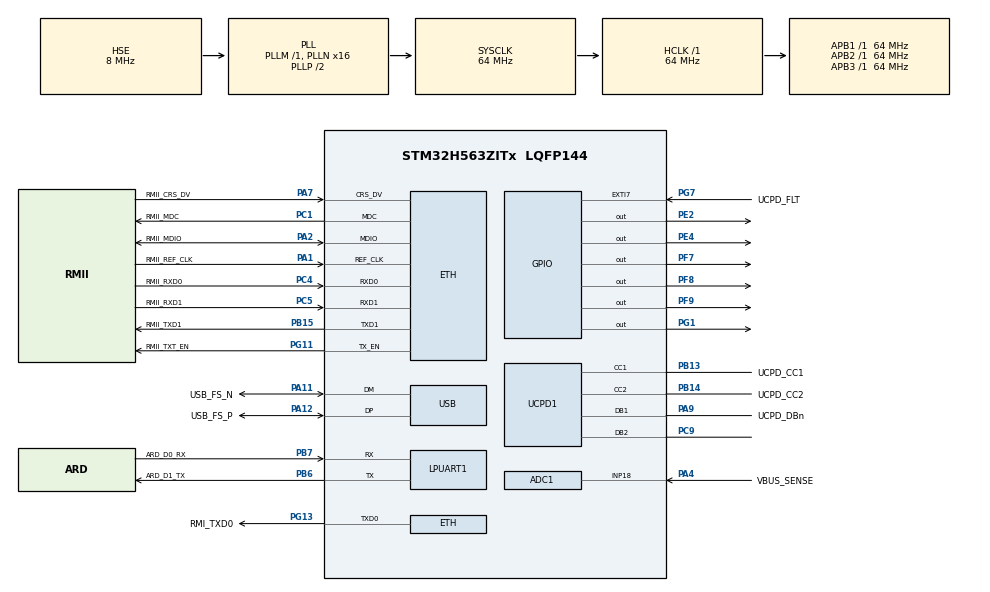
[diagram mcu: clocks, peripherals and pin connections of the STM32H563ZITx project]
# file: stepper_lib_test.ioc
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ADC1.Channel-0\#ChannelRegularConversion=ADC_CHANNEL_18
ADC1.MonitoredBy-0\#ChannelRegularConversion=__NULL
ADC1.NbrOfConversionFlag=1
ADC1.OffsetNumber-0\#ChannelRegularConversion=ADC_OFFSET_NONE
ADC1.Rank-0\#ChannelRegularConversion=1
ADC1.SamplingTime-0\#ChannelRegularConversion=ADC_SAMPLETIME_2CYCLES_5
ADC1.master=1
CORTEX_M33_NS.userName=CORTEX_M33
ETH.MediaInterface=HAL_ETH_RMII_MODE
Mcu.Family=STM32H5
Mcu.Name=STM32H563ZITx
Mcu.Package=LQFP144
NVIC.PriorityGroup=NVIC_PRIORITYGROUP_4
NVIC.TIM14_IRQn=true\:0\:0\:false\:false\:true\:true\:true\:true
PA1.GPIO_Label=RMII_REF_CLK
PA1.GPIO_Mode=GPIO_MODE_AF_PP
PA1.GPIO_PuPd=GPIO_NOPULL
PA1.GPIO_Speed=GPIO_SPEED_FREQ_LOW
PA1.Mode=RMII
PA1.Signal=ETH_REF_CLK
PA11.GPIO_Label=USB_FS_N
PA11.Mode=Device
PA11.Signal=USB_DM
PA12.GPIO_Label=USB_FS_P
PA12.Mode=Device
PA12.Signal=USB_DP
PA13(JTMS/SWDIO).GPIO_Label=SWDIO
PA13(JTMS/SWDIO).Signal=DEBUG_JTMS-SWDIO
PA14(JTCK/SWCLK).GPIO_Label=SWCLK
PA14(JTCK/SWCLK).Signal=DEBUG_JTCK-SWCLK
PA15(JTDI).GPIO_Label=T_JTDI
PA15(JTDI).Signal=DEBUG_JTDI
PA2.GPIO_Label=RMII_MDIO
PA2.GPIO_Mode=GPIO_MODE_AF_PP
PA2.GPIO_PuPd=GPIO_NOPULL
PA2.GPIO_Speed=GPIO_SPEED_FREQ_LOW
PA2.Mode=RMII
PA2.Signal=ETH_MDIO
PA4.GPIO_Label=VBUS_SENSE
PA4.Signal=ADCx_INP18
PA7.GPIO_Label=RMII_CRS_DV
PA7.GPIO_Mode=GPIO_MODE_AF_PP
PA7.GPIO_PuPd=GPIO_NOPULL
PA7.GPIO_Speed=GPIO_SPEED_FREQ_LOW
PA7.Mode=RMII
PA7.Signal=ETH_CRS_DV
PA9.GPIO_Label=UCPD_DBn
PA9.Mode=EnableDeadBattery
PA9.Signal=UCPD1_DB1
PB13.GPIO_Label=UCPD_CC1
PB13.Mode=Source_AllSignals
PB13.Signal=UCPD1_CC1
PB14.GPIO_Label=UCPD_CC2
PB14.Mode=Source_AllSignals
PB14.Signal=UCPD1_CC2
PB15.GPIO_Label=RMII_TXD1
PB15.GPIO_Mode=GPIO_MODE_AF_PP
PB15.GPIO_PuPd=GPIO_NOPULL
PB15.GPIO_Speed=GPIO_SPEED_FREQ_LOW
PB15.Mode=RMII
PB15.Signal=ETH_TXD1
PB3(JTDO/TRACESWO).GPIO_Label=SWO
PB3(JTDO/TRACESWO).Signal=DEBUG_JTDO-SWO
PB6.GPIO_Label=ARD_D1_TX
PB6.Mode=Asynchronous
PB6.Signal=LPUART1_TX
PB7.GPIO_Label=ARD_D0_RX
PB7.Mode=Asynchronous
PB7.Signal=LPUART1_RX
PC1.GPIO_Label=RMII_MDC
PC1.GPIO_Mode=GPIO_MODE_AF_PP
PC1.GPIO_PuPd=GPIO_NOPULL
PC1.GPIO_Speed=GPIO_SPEED_FREQ_LOW
PC1.Mode=RMII
PC1.Signal=ETH_MDC
PC14-OSC32_IN(OSC32_IN).Mode=LSE-External-Oscillator
PC14-OSC32_IN(OSC32_IN).Signal=RCC_OSC32_IN
PC15-OSC32_OUT(OSC32_OUT).Mode=LSE-External-Oscillator
PC15-OSC32_OUT(OSC32_OUT).Signal=RCC_OSC32_OUT
PC4.GPIO_Label=RMII_RXD0
PC4.GPIO_Mode=GPIO_MODE_AF_PP
PC4.GPIO_PuPd=GPIO_NOPULL
PC4.GPIO_Speed=GPIO_SPEED_FREQ_LOW
PC4.Mode=RMII
PC4.Signal=ETH_RXD0
PC5.GPIO_Label=RMII_RXD1
PC5.GPIO_Mode=GPIO_MODE_AF_PP
PC5.GPIO_PuPd=GPIO_NOPULL
PC5.GPIO_Speed=GPIO_SPEED_FREQ_LOW
PC5.Mode=RMII
PC5.Signal=ETH_RXD1
PC9.Mode=EnableDeadBattery
PC9.Signal=UCPD1_DB2
PE2.Signal=GPIO_Output
PE3.GPIO_Label=TRACE_D0
PE3.Signal=DEBUG_TRACED0
PE4.Signal=GPIO_Output
PE5.GPIO_Label=TRACE_D2
PE5.Signal=DEBUG_TRACED2
PE6.GPIO_Label=TRACE_D3
PE6.Signal=DEBUG_TRACED3
PF7.Signal=GPIO_Output
PF8.Signal=GPIO_Output
PF9.Signal=GPIO_Output
PG1.Signal=GPIO_Output
PG11.GPIO_Label=RMII_TXT_EN
PG11.GPIO_Mode=GPIO_MODE_AF_PP
PG11.GPIO_PuPd=GPIO_NOPULL
PG11.GPIO_Speed=GPIO_SPEED_FREQ_LOW
PG11.Mode=RMII
PG11.Signal=ETH_TX_EN
PG13.GPIO_Label=RMI_TXD0
PG13.GPIO_Mode=GPIO_MODE_AF_PP
PG13.GPIO_PuPd=GPIO_NOPULL
PG13.GPIO_Speed=GPIO_SPEED_FREQ_LOW
PG13.Mode=RMII
PG13.Signal=ETH_TXD0
PG7.GPIO_Label=UCPD_FLT
PG7.Signal=GPXTI7
PH0-OSC_IN(PH0).Mode=HSE-DIG-External-Clock-Source
PH0-OSC_IN(PH0).Signal=RCC_OSC_IN
ProjectManager.HeapSize=0x200
ProjectManager.StackSize=0x400
ProjectManager.TargetToolchain=STM32CubeIDE
RCC.ADCFreq_Value=64000000
RCC.AHBFreq_Value=64000000
RCC.APB1Freq_Value=64000000
RCC.APB1TimFreq_Value=64000000
RCC.APB2Freq_Value=64000000
RCC.APB2TimFreq_Value=64000000
RCC.APB3Freq_Value=64000000
RCC.CSI_VALUE=4000000
RCC.CortexFreq_Value=64000000
RCC.EPOD_VALUE=8000000
RCC.HCLKFreq_Value=64000000
RCC.HSE_VALUE=8000000
RCC.HSI48_VALUE=48000000
RCC.HSIDiv=RCC_HSI_DIV1
RCC.HSI_VALUE=64000000
RCC.LSIRC_VALUE=32000
RCC.PLLFRACN=0
RCC.PLLN=16
RCC.PLLSourceVirtual=RCC_PLL1_SOURCE_HSE
RCC.SYSCLKFreq_VALUE=64000000
RCC.SYSCLKSource=RCC_SYSCLKSOURCE_PLLCLK
RCC.USBFreq_Value=48000000
RCC.VCOOutputFreq_Value=128000000
SH.ADCx_INP18.0=ADC1_INP18,IN18-Single-Ended
TIM14.PeriodNoDither=100
TIM14.Prescaler=63
USB.VirtualMode=Device_Only
VP_BOOTPATH_VS_BOOTPATH.Mode=BP_Activate
VP_ICACHE_VS_ICACHE.Mode=DefaultMode
VP_MEMORYMAP_VS_MEMORYMAP.Mode=CurAppReg
VP_PWR_VS_DBSignals.Mode=DisableDeadBatterySignals
VP_PWR_VS_LPOM.Mode=PowerOptimisation
VP_PWR_VS_SECSignals.Mode=Security/Privilege
VP_TIM14_VS_ClockSourceINT.Mode=Enable_Timer
board=NUCLEO-H563ZI

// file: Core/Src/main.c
/* USER CODE BEGIN Header */
/**
  ******************************************************************************
  * @file           : main.c
  * @brief          : Main program body
  ******************************************************************************
  * @attention
  *
  * Copyright (c) 2024 STMicroelectronics.
  * All rights reserved.
  *
  * This software is licensed under terms that can be found in the LICENSE file
  * in the root directory of this software component.
  * If no LICENSE file comes with this software, it is provided AS-IS.
  *
  ******************************************************************************
  */
/* USER CODE END Header */
#include "main.h"
#include "string.h"

/* USER CODE BEGIN Includes */
#include "stepper_motor.h"
/* USER CODE END Includes */

/* USER CODE BEGIN PD */

#define STEP_PORT GPIOE//D56
#define STEP_PIN GPIO_PIN_2
#define DIR_PORT GPIOE//D57
#define DIR_PIN GPIO_PIN_4
#define MS1_PORT GPIOF
#define MS2_PORT GPIOF
#define MS3_PORT GPIOF
#define MS1_PIN GPIO_PIN_8
#define MS2_PIN GPIO_PIN_7
#define MS3_PIN GPIO_PIN_9
/* USER CODE END PD */

ETH_TxPacketConfig TxConfig;
ETH_DMADescTypeDef  DMARxDscrTab[ETH_RX_DESC_CNT]; /* Ethernet Rx DMA Descriptors */
ETH_DMADescTypeDef  DMATxDscrTab[ETH_TX_DESC_CNT]; /* Ethernet Tx DMA Descriptors */

ADC_HandleTypeDef hadc1;

ETH_HandleTypeDef heth;

UART_HandleTypeDef hlpuart1;

TIM_HandleTypeDef htim14;

PCD_HandleTypeDef hpcd_USB_DRD_FS;

void SystemClock_Config(void);
static void MX_GPIO_Init(void);
static void MX_ADC1_Init(void);
static void MX_ETH_Init(void);
static void MX_ICACHE_Init(void);
static void MX_LPUART1_UART_Init(void);
static void MX_UCPD1_Init(void);
static void MX_USB_PCD_Init(void);
static void MX_TIM14_Init(void);

/* USER CODE BEGIN 0 */
int checkpoint, cnt14, x;
Stepper_Motor Stepper1;
GPIO_TypeDef *Step_Port = STEP_PORT, *Dir_Port = DIR_PORT;
GPIO_TypeDef *MS_Ports[3] = {MS1_PORT, MS2_PORT, MS3_PORT};
uint16_t Step_Pin = STEP_PIN, Dir_Pin = DIR_PIN, MS_Pins[3] = {MS1_PIN, MS2_PIN, MS3_PIN};
/* USER CODE END 0 */

int main(void)
{

  /* MCU Configuration--------------------------------------------------------*/

  /* Reset of all peripherals, Initializes the Flash interface and the Systick. */
  HAL_Init();

  /* Configure the system clock */
  SystemClock_Config();

  /* Initialize all configured peripherals */
  MX_GPIO_Init();
  MX_ADC1_Init();
  MX_ETH_Init();
  MX_ICACHE_Init();
  MX_LPUART1_UART_Init();
  MX_UCPD1_Init();
  MX_USB_PCD_Init();
  MX_TIM14_Init();
  /* USER CODE BEGIN 2 */
  HAL_TIM_Base_Start_IT(&htim14);
	Stepper_Init(&Stepper1, Step_Port, Step_Pin, Dir_Port, Dir_Pin, MS_Ports, MS_Pins, FULL);
  /* USER CODE END 2 */

  /* Infinite loop */
  /* USER CODE BEGIN WHILE */
  while (1)
  {
	  if(Stepper_Empty(&Stepper1))
	  {
		  x = 10;
		  HAL_Delay(1000);
		  Stepper_Add_Steps(&Stepper1, 200);
	  }
	  x = 9;
    /* USER CODE END WHILE */

  }
}

void SystemClock_Config(void)
{
  RCC_OscInitTypeDef RCC_OscInitStruct = {0};
  RCC_ClkInitTypeDef RCC_ClkInitStruct = {0};

  /** Configure the main internal regulator output voltage
  */
  __HAL_PWR_VOLTAGESCALING_CONFIG(PWR_REGULATOR_VOLTAGE_SCALE3);

  while(!__HAL_PWR_GET_FLAG(PWR_FLAG_VOSRDY)) {}

  /** Initializes the RCC Oscillators according to the specified parameters
  * in the RCC_OscInitTypeDef structure.
  */
  RCC_OscInitStruct.OscillatorType = RCC_OSCILLATORTYPE_HSI48|RCC_OSCILLATORTYPE_HSI
                              |RCC_OSCILLATORTYPE_HSE;
  RCC_OscInitStruct.HSEState = RCC_HSE_BYPASS_DIGITAL;
  RCC_OscInitStruct.HSIState = RCC_HSI_ON;
  RCC_OscInitStruct.HSIDiv = RCC_HSI_DIV1;
  RCC_OscInitStruct.HSICalibrationValue = RCC_HSICALIBRATION_DEFAULT;
  RCC_OscInitStruct.HSI48State = RCC_HSI48_ON;
  RCC_OscInitStruct.PLL.PLLState = RCC_PLL_ON;
  RCC_OscInitStruct.PLL.PLLSource = RCC_PLL1_SOURCE_HSE;
  RCC_OscInitStruct.PLL.PLLM = 1;
  RCC_OscInitStruct.PLL.PLLN = 16;
  RCC_OscInitStruct.PLL.PLLP = 2;
  RCC_OscInitStruct.PLL.PLLQ = 2;
  RCC_OscInitStruct.PLL.PLLR = 2;
  RCC_OscInitStruct.PLL.PLLRGE = RCC_PLL1_VCIRANGE_3;
  RCC_OscInitStruct.PLL.PLLVCOSEL = RCC_PLL1_VCORANGE_WIDE;
  RCC_OscInitStruct.PLL.PLLFRACN = 0;
  if (HAL_RCC_OscConfig(&RCC_OscInitStruct) != HAL_OK)
  {
    Error_Handler();
  }

  /** Initializes the CPU, AHB and APB buses clocks
  */
  RCC_ClkInitStruct.ClockType = RCC_CLOCKTYPE_HCLK|RCC_CLOCKTYPE_SYSCLK
                              |RCC_CLOCKTYPE_PCLK1|RCC_CLOCKTYPE_PCLK2
                              |RCC_CLOCKTYPE_PCLK3;
  RCC_ClkInitStruct.SYSCLKSource = RCC_SYSCLKSOURCE_PLLCLK;
  RCC_ClkInitStruct.AHBCLKDivider = RCC_SYSCLK_DIV1;
  RCC_ClkInitStruct.APB1CLKDivider = RCC_HCLK_DIV1;
  RCC_ClkInitStruct.APB2CLKDivider = RCC_HCLK_DIV1;
  RCC_ClkInitStruct.APB3CLKDivider = RCC_HCLK_DIV1;

  if (HAL_RCC_ClockConfig(&RCC_ClkInitStruct, FLASH_LATENCY_3) != HAL_OK)
  {
    Error_Handler();
  }
}

static void MX_ADC1_Init(void)
{

  ADC_ChannelConfTypeDef sConfig = {0};

  /** Common config
  */
  hadc1.Instance = ADC1;
  hadc1.Init.ClockPrescaler = ADC_CLOCK_ASYNC_DIV1;
  hadc1.Init.Resolution = ADC_RESOLUTION_12B;
  hadc1.Init.DataAlign = ADC_DATAALIGN_RIGHT;
  hadc1.Init.ScanConvMode = ADC_SCAN_DISABLE;
  hadc1.Init.EOCSelection = ADC_EOC_SINGLE_CONV;
  hadc1.Init.LowPowerAutoWait = DISABLE;
  hadc1.Init.ContinuousConvMode = DISABLE;
  hadc1.Init.NbrOfConversion = 1;
  hadc1.Init.DiscontinuousConvMode = DISABLE;
  hadc1.Init.ExternalTrigConv = ADC_SOFTWARE_START;
  hadc1.Init.ExternalTrigConvEdge = ADC_EXTERNALTRIGCONVEDGE_NONE;
  hadc1.Init.DMAContinuousRequests = DISABLE;
  hadc1.Init.SamplingMode = ADC_SAMPLING_MODE_NORMAL;
  hadc1.Init.Overrun = ADC_OVR_DATA_PRESERVED;
  hadc1.Init.OversamplingMode = DISABLE;
  if (HAL_ADC_Init(&hadc1) != HAL_OK)
  {
    Error_Handler();
  }

  /** Configure Regular Channel
  */
  sConfig.Channel = ADC_CHANNEL_18;
  sConfig.Rank = ADC_REGULAR_RANK_1;
  sConfig.SamplingTime = ADC_SAMPLETIME_2CYCLES_5;
  sConfig.SingleDiff = ADC_SINGLE_ENDED;
  sConfig.OffsetNumber = ADC_OFFSET_NONE;
  sConfig.Offset = 0;
  if (HAL_ADC_ConfigChannel(&hadc1, &sConfig) != HAL_OK)
  {
    Error_Handler();
  }

}

static void MX_ETH_Init(void)
{

   static uint8_t MACAddr[6];

  heth.Instance = ETH;
  MACAddr[0] = 0x00;
  MACAddr[1] = 0x80;
  MACAddr[2] = 0xE1;
  MACAddr[3] = 0x00;
  MACAddr[4] = 0x00;
  MACAddr[5] = 0x00;
  heth.Init.MACAddr = &MACAddr[0];
  heth.Init.MediaInterface = HAL_ETH_RMII_MODE;
  heth.Init.TxDesc = DMATxDscrTab;
  heth.Init.RxDesc = DMARxDscrTab;
  heth.Init.RxBuffLen = 1524;

  if (HAL_ETH_Init(&heth) != HAL_OK)
  {
    Error_Handler();
  }

  memset(&TxConfig, 0 , sizeof(ETH_TxPacketConfig));
  TxConfig.Attributes = ETH_TX_PACKETS_FEATURES_CSUM | ETH_TX_PACKETS_FEATURES_CRCPAD;
  TxConfig.ChecksumCtrl = ETH_CHECKSUM_IPHDR_PAYLOAD_INSERT_PHDR_CALC;
  TxConfig.CRCPadCtrl = ETH_CRC_PAD_INSERT;

}

static void MX_ICACHE_Init(void)
{

  /** Enable instruction cache (default 2-ways set associative cache)
  */
  if (HAL_ICACHE_Enable() != HAL_OK)
  {
    Error_Handler();
  }

}

static void MX_LPUART1_UART_Init(void)
{

  hlpuart1.Instance = LPUART1;
  hlpuart1.Init.BaudRate = 209700;
  hlpuart1.Init.WordLength = UART_WORDLENGTH_8B;
  hlpuart1.Init.StopBits = UART_STOPBITS_1;
  hlpuart1.Init.Parity = UART_PARITY_NONE;
  hlpuart1.Init.Mode = UART_MODE_TX_RX;
  hlpuart1.Init.HwFlowCtl = UART_HWCONTROL_NONE;
  hlpuart1.Init.OneBitSampling = UART_ONE_BIT_SAMPLE_DISABLE;
  hlpuart1.AdvancedInit.AdvFeatureInit = UART_ADVFEATURE_NO_INIT;
  hlpuart1.FifoMode = UART_FIFOMODE_DISABLE;
  if (HAL_UART_Init(&hlpuart1) != HAL_OK)
  {
    Error_Handler();
  }
  if (HAL_UARTEx_SetTxFifoThreshold(&hlpuart1, UART_TXFIFO_THRESHOLD_1_8) != HAL_OK)
  {
    Error_Handler();
  }
  if (HAL_UARTEx_SetRxFifoThreshold(&hlpuart1, UART_RXFIFO_THRESHOLD_1_8) != HAL_OK)
  {
    Error_Handler();
  }
  if (HAL_UARTEx_DisableFifoMode(&hlpuart1) != HAL_OK)
  {
    Error_Handler();
  }

}

static void MX_TIM14_Init(void)
{

  htim14.Instance = TIM14;
  htim14.Init.Prescaler = 63;
  htim14.Init.CounterMode = TIM_COUNTERMODE_UP;
  htim14.Init.Period = 100;
  htim14.Init.ClockDivision = TIM_CLOCKDIVISION_DIV1;
  htim14.Init.AutoReloadPreload = TIM_AUTORELOAD_PRELOAD_DISABLE;
  if (HAL_TIM_Base_Init(&htim14) != HAL_OK)
  {
    Error_Handler();
  }

}

static void MX_UCPD1_Init(void)
{

  LL_GPIO_InitTypeDef GPIO_InitStruct = {0};

  /* Peripheral clock enable */
  LL_APB1_GRP2_EnableClock(LL_APB1_GRP2_PERIPH_UCPD1);

  LL_AHB2_GRP1_EnableClock(LL_AHB2_GRP1_PERIPH_GPIOB);
  /**UCPD1 GPIO Configuration
  PB13   ------> UCPD1_CC1
  PB14   ------> UCPD1_CC2
  */
  GPIO_InitStruct.Pin = LL_GPIO_PIN_13|LL_GPIO_PIN_14;
  GPIO_InitStruct.Mode = LL_GPIO_MODE_ANALOG;
  GPIO_InitStruct.Pull = LL_GPIO_PULL_NO;
  LL_GPIO_Init(GPIOB, &GPIO_InitStruct);

}

static void MX_USB_PCD_Init(void)
{

  hpcd_USB_DRD_FS.Instance = USB_DRD_FS;
  hpcd_USB_DRD_FS.Init.dev_endpoints = 8;
  hpcd_USB_DRD_FS.Init.speed = USBD_FS_SPEED;
  hpcd_USB_DRD_FS.Init.phy_itface = PCD_PHY_EMBEDDED;
  hpcd_USB_DRD_FS.Init.Sof_enable = DISABLE;
  hpcd_USB_DRD_FS.Init.low_power_enable = DISABLE;
  hpcd_USB_DRD_FS.Init.lpm_enable = DISABLE;
  hpcd_USB_DRD_FS.Init.battery_charging_enable = DISABLE;
  hpcd_USB_DRD_FS.Init.vbus_sensing_enable = DISABLE;
  hpcd_USB_DRD_FS.Init.bulk_doublebuffer_enable = DISABLE;
  hpcd_USB_DRD_FS.Init.iso_singlebuffer_enable = DISABLE;
  if (HAL_PCD_Init(&hpcd_USB_DRD_FS) != HAL_OK)
  {
    Error_Handler();
  }

}

static void MX_GPIO_Init(void)
{
  GPIO_InitTypeDef GPIO_InitStruct = {0};

  /* GPIO Ports Clock Enable */
  __HAL_RCC_GPIOE_CLK_ENABLE();
  __HAL_RCC_GPIOC_CLK_ENABLE();
  __HAL_RCC_GPIOF_CLK_ENABLE();
  __HAL_RCC_GPIOH_CLK_ENABLE();
  __HAL_RCC_GPIOA_CLK_ENABLE();
  __HAL_RCC_GPIOG_CLK_ENABLE();
  __HAL_RCC_GPIOB_CLK_ENABLE();

  /*Configure GPIO pin Output Level */
  HAL_GPIO_WritePin(GPIOE, GPIO_PIN_2|GPIO_PIN_4, GPIO_PIN_RESET);

  /*Configure GPIO pin Output Level */
  HAL_GPIO_WritePin(GPIOF, GPIO_PIN_7|GPIO_PIN_8|GPIO_PIN_9, GPIO_PIN_RESET);

  /*Configure GPIO pin Output Level */
  HAL_GPIO_WritePin(GPIOG, GPIO_PIN_1, GPIO_PIN_RESET);

  /*Configure GPIO pins : PE2 PE4 */
  GPIO_InitStruct.Pin = GPIO_PIN_2|GPIO_PIN_4;
  GPIO_InitStruct.Mode = GPIO_MODE_OUTPUT_PP;
  GPIO_InitStruct.Pull = GPIO_NOPULL;
  GPIO_InitStruct.Speed = GPIO_SPEED_FREQ_LOW;
  HAL_GPIO_Init(GPIOE, &GPIO_InitStruct);

  /*Configure GPIO pins : PF7 PF8 PF9 */
  GPIO_InitStruct.Pin = GPIO_PIN_7|GPIO_PIN_8|GPIO_PIN_9;
  GPIO_InitStruct.Mode = GPIO_MODE_OUTPUT_PP;
  GPIO_InitStruct.Pull = GPIO_NOPULL;
  GPIO_InitStruct.Speed = GPIO_SPEED_FREQ_LOW;
  HAL_GPIO_Init(GPIOF, &GPIO_InitStruct);

  /*Configure GPIO pin : PG1 */
  GPIO_InitStruct.Pin = GPIO_PIN_1;
  GPIO_InitStruct.Mode = GPIO_MODE_OUTPUT_PP;
  GPIO_InitStruct.Pull = GPIO_NOPULL;
  GPIO_InitStruct.Speed = GPIO_SPEED_FREQ_LOW;
  HAL_GPIO_Init(GPIOG, &GPIO_InitStruct);

  /*Configure GPIO pin : UCPD_FLT_Pin */
  GPIO_InitStruct.Pin = UCPD_FLT_Pin;
  GPIO_InitStruct.Mode = GPIO_MODE_IT_RISING;
  GPIO_InitStruct.Pull = GPIO_NOPULL;
  HAL_GPIO_Init(UCPD_FLT_GPIO_Port, &GPIO_InitStruct);

}

/* USER CODE BEGIN 4 */
void HAL_TIM_PeriodElapsedCallback(TIM_HandleTypeDef* htim)
{
	if(htim->Instance == TIM14)
	{
		x = 1;
		if(cnt14 < 10000000)
			cnt14 ++;
		else
			cnt14 = 0;

		if(!Stepper_Empty(&Stepper1))
		{
			x = 2;
			if(Stepper1.time >= Stepper_Current_Interval(&Stepper1))
			{
				x = 3;
				checkpoint = 10-checkpoint;
				Stepper_Go_One_Step(&Stepper1);
				Stepper1.time = 0;
			}
			else
			{
				x = 4;
				Stepper1.time += 100;
			}
		}
	}

}

/* USER CODE END 4 */

void Error_Handler(void)
{
  /* USER CODE BEGIN Error_Handler_Debug */
  /* User can add his own implementation to report the HAL error return state */
	x = 100;
  __disable_irq();
  while (1)
  {
  }
  /* USER CODE END Error_Handler_Debug */
}
